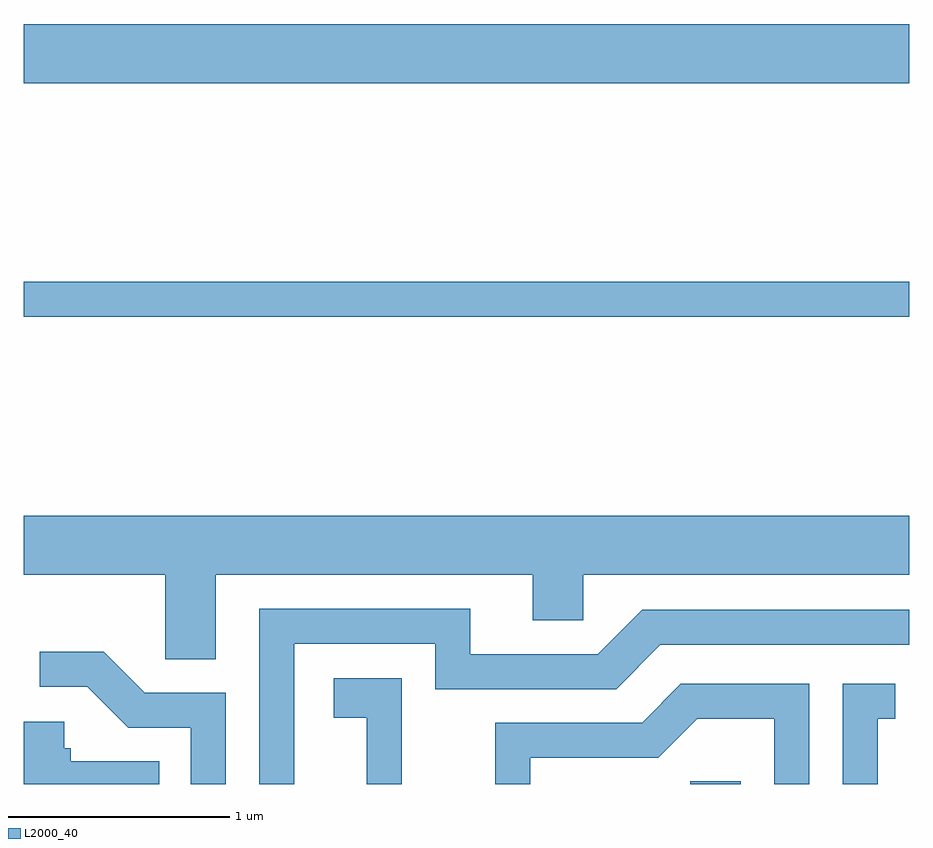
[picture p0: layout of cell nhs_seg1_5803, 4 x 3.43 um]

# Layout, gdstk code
import gdstk
lib = gdstk.Library(unit=1e-6, precision=1e-09)
def R(c, l, rs):  # rectangles x0, y0, x1, y1
    for r in rs: c.add(gdstk.rectangle(r[:2], r[2:], *l))
def P(c, l, *ps):  # polygons
    for p in ps: c.add(gdstk.Polygon(p, *l))
L2000_40 = (2000, 40)

nhs_seg1_5803 = lib.new_cell('nhs_seg1_5803')
R(nhs_seg1_5803, L2000_40, [(362.621,929.712,362.849,929.724), (359.611,931.821,363.611,931.979), (359.611,932.876,363.611,933.144)])
P(nhs_seg1_5803, L2000_40, [(360.479,930.656),(361.911,930.656),(361.911,930.451),(362.139,930.451),(362.139,930.656),(363.611,930.656),(363.611,930.924),(359.611,930.924),(359.611,930.656),(360.251,930.656),(360.251,930.276),(360.479,930.276)],
  [(360.834,930.346),(361.471,930.346),(361.471,930.141),(362.287,930.141),(362.487,930.341),(363.611,930.341),(363.611,930.499),(362.404,930.499),(362.204,930.299),(361.629,930.299),(361.629,930.504),(360.676,930.504),(360.676,929.712),(360.834,929.712)],
  [(360.524,930.124),(360.157,930.124),(359.972,930.309),(359.683,930.309),(359.683,930.151),(359.899,930.151),(360.084,929.966),(360.366,929.966),(360.366,929.712),(360.524,929.712)],
  [(361.319,930.189),(361.011,930.189),(361.011,930.011),(361.161,930.011),(361.161,929.712),(361.319,929.712)],
  [(361.899,929.831),(362.477,929.831),(362.652,930.006),(363.001,930.006),(363.001,929.712),(363.159,929.712),(363.159,930.164),(362.579,930.164),(362.404,929.989),(361.741,929.989),(361.741,929.712),(361.899,929.712)],
  [(363.469,930.006),(363.548,930.006),(363.548,930.164),(363.311,930.164),(363.311,929.712),(363.469,929.712)],
  [(360.223,929.814),(359.824,929.814),(359.824,929.874),(359.794,929.874),(359.794,929.994),(359.611,929.994),(359.611,929.712),(360.223,929.712)])

lib.write_gds('nhs_seg1_5803.gds')
